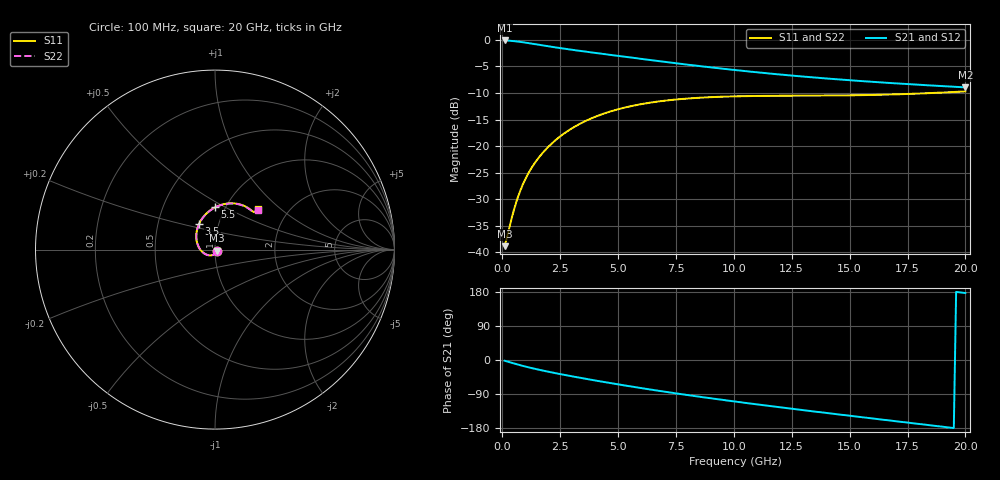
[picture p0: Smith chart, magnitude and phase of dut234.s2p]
! Touchstone file exported from HFSS 2023.1.0
!  File:  D:/Users/fzz/RDL_TSV/temp_RDL_TSV_234_1778758732.aedt
!  Generated:  7:50:27 %x4E0B%x5348  5%x6708 14, 2026
!  Design:  RDL_TSV
!  Project:  temp_RDL_TSV_234_1778758732
!  Setup:  Setup1
!  Solution:  Sweep
! Variables:
!  dtsv = 15.85um
!  hbump = 3um
!  htsv = 79.22um
!  ldown = 120.81um
!  lrdl = 491.05um
!  p = 40
!  p1 = 52.77um
!  rhole = 10um
!  subl = 2326.63um
!  t = 450um
!  tdown = 4.72um
!  trdl = 3.94um
!  viad = 10um
!  wdown = 23.56um
!  wrdl = 20.02um
!  xbump = 18um
# GHz S MA R 50.000000
! Terminal data exported
! Port[1] = TM1_1_T1
! Port[2] = TM1_4_T1
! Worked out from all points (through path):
!   200 points, 100 MHz to 20 GHz, reference 50 ohm
!   highest |S21| = -0.10 dB at 100 MHz (marker M1); lowest = -8.9 dB at 20 GHz (marker M2)
!   group delay of S21, straight-line fit = 23.9 ps
!   lowest |S11| = -38.9 dB at 100 MHz (marker M3), VSWR 1.02, Z = 51 - j0.549 ohm
!   |S11| at or under -10 dB: start of sweep to 18.6 GHz
!   |S22| runs from -38.9 to -9.7 dB; largest |S21 - S12| = 2.3e-14
!   S11 on the Smith chart (normalised r, x): 100 MHz: 1.02, -0.01; 3.5 GHz: 0.81, +0.24; 5.5 GHz: 0.90, +0.45; 20 GHz: 1.42, +0.71
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0.1  0.01138 -28.2  0.9888 -1.9  0.9888 -1.9  0.01138 -28.2
! Gamma 0 0 0 0
! Port Impedance 50 0 50 0
0.2  0.01364 -51.5  0.9866 -3.7  0.9866 -3.7  0.01364 -51.5
0.4  0.02065 -83.9  0.9795 -7.3  0.9795 -7.3  0.02065 -83.8
0.5  0.02488 -95.9  0.9749 -9.1  0.9749 -9.1  0.02489 -95.9
0.7  0.03418 -116.1  0.9636 -12.5  0.9636 -12.5  0.03418 -116.0
1  0.04903 -140.7  0.9434 -17.3  0.9434 -17.3  0.049 -140.6
1.3  0.06403 -160.6  0.9212 -21.8  0.9212 -21.8  0.06396 -160.5
1.7  0.08398 178.3  0.8915 -27.3  0.8915 -27.3  0.08384 178.4
2.2  0.1087 157.9  0.8568 -33.6  0.8568 -33.6  0.1085 157.9
2.8  0.1373 139.0  0.8196 -40.7  0.8196 -40.7  0.137 139.0
3.5  0.1682 122.0  0.7808 -48.5  0.7808 -48.5  0.1677 122.0
4.5  0.206 103.6  0.7307 -59.2  0.7307 -59.2  0.2053 103.6
5.5  0.236 89.7  0.6846 -69.3  0.6846 -69.3  0.2352 89.7
6.8  0.264 75.9  0.6299 -81.7  0.6299 -81.7  0.2629 75.9
8.4  0.2843 63.7  0.571 -96.0  0.571 -96.0  0.2831 63.7
10.1  0.2942 54.8  0.5188 -110.0  0.5188 -110.0  0.2929 54.8
11.7  0.2974 49.3  0.4786 -122.5  0.4786 -122.5  0.2961 49.3
13.4  0.2986 45.8  0.4438 -135.3  0.4438 -135.3  0.2972 45.8
15  0.3005 44.1  0.417 -147.1  0.417 -147.1  0.2992 44.1
16.7  0.3056 43.5  0.3934 -159.4  0.3934 -159.4  0.3043 43.4
18.3  0.3142 43.3  0.3745 -171.0  0.3745 -171.0  0.3129 43.3
20  0.3271 43.2  0.3572 176.8  0.3572 176.8  0.3258 43.2
